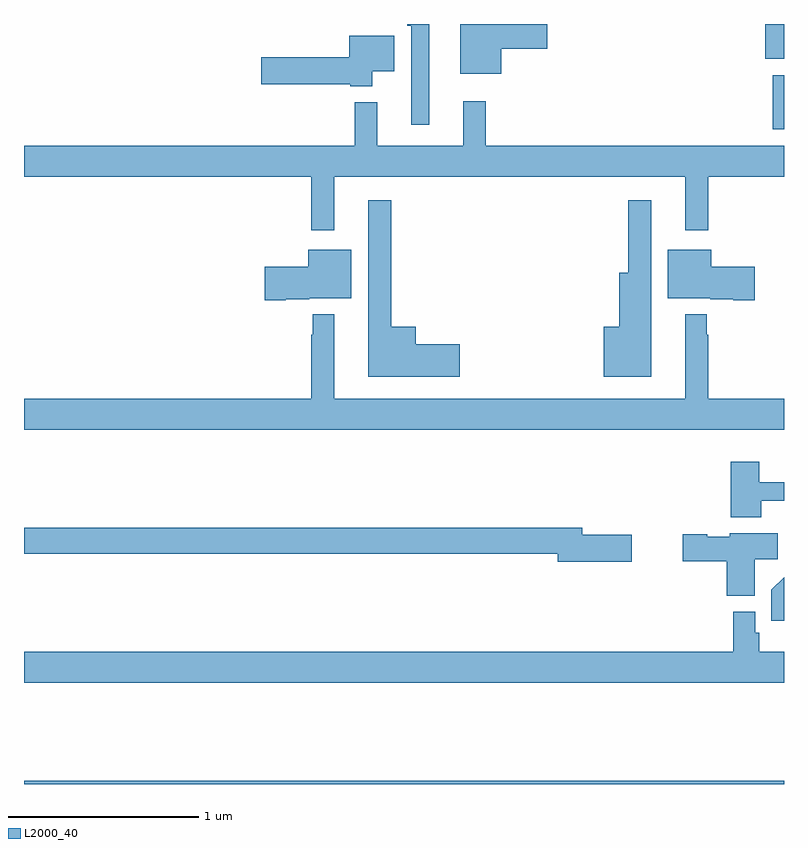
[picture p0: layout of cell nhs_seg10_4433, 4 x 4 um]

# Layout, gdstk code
import gdstk
lib = gdstk.Library(unit=1e-6, precision=1e-09)
def R(c, l, rs):  # rectangles x0, y0, x1, y1
    for r in rs: c.add(gdstk.rectangle(r[:2], r[2:], *l))
def P(c, l, *ps):  # polygons
    for p in ps: c.add(gdstk.Polygon(p, *l))
L2000_40 = (2000, 40)

nhs_seg10_4433 = lib.new_cell('nhs_seg10_4433')
R(nhs_seg10_4433, L2000_40, [(363,1250.5,367,1250.516), (366.941,1253.946,367,1254.231), (366.902,1254.316,367,1254.5)])
P(nhs_seg10_4433, L2000_40, [(365.134,1254.5),(365.017,1254.5),(365.017,1254.491),(365.037,1254.491),(365.037,1253.97),(365.134,1253.97)],
  [(365.512,1254.371),(365.755,1254.371),(365.755,1254.5),(365.297,1254.5),(365.297,1254.239),(365.512,1254.239)],
  [(364.834,1254.251),(364.948,1254.251),(364.948,1254.439),(364.712,1254.439),(364.712,1254.326),(364.248,1254.326),(364.248,1254.184),(364.716,1254.184),(364.716,1254.173),(364.834,1254.173)],
  [(364.633,1253.696),(366.479,1253.696),(366.479,1253.415),(366.601,1253.415),(366.601,1253.696),(367,1253.696),(367,1253.86),(365.429,1253.86),(365.429,1254.094),(365.312,1254.094),(365.312,1253.86),(364.859,1253.86),(364.859,1254.088),(364.741,1254.088),(364.741,1253.86),(363,1253.86),(363,1253.696),(364.512,1253.696),(364.512,1253.415),(364.633,1253.415)],
  [(366.301,1253.572),(366.18,1253.572),(366.18,1253.191),(366.134,1253.191),(366.134,1252.906),(366.05,1252.906),(366.05,1252.643),(366.301,1252.643)],
  [(365.293,1252.814),(365.062,1252.814),(365.062,1252.906),(364.933,1252.906),(364.933,1253.572),(364.811,1253.572),(364.811,1252.643),(365.293,1252.643)],
  [(364.378,1253.051),(364.5,1253.051),(364.5,1253.057),(364.723,1253.057),(364.723,1253.311),(364.496,1253.311),(364.496,1253.223),(364.266,1253.223),(364.266,1253.045),(364.378,1253.045)],
  [(366.847,1253.223),(366.616,1253.223),(366.616,1253.311),(366.389,1253.311),(366.389,1253.057),(366.612,1253.057),(366.612,1253.051),(366.734,1253.051),(366.734,1253.045),(366.847,1253.045)],
  [(367,1252.528),(366.601,1252.528),(366.601,1252.865),(366.593,1252.865),(366.593,1252.972),(366.479,1252.972),(366.479,1252.528),(364.633,1252.528),(364.633,1252.972),(364.519,1252.972),(364.519,1252.865),(364.512,1252.865),(364.512,1252.528),(363,1252.528),(363,1252.364),(367,1252.364)],
  [(366.879,1251.99),(367,1251.99),(367,1252.089),(366.871,1252.089),(366.871,1252.195),(366.719,1252.195),(366.719,1251.905),(366.879,1251.905)],
  [(366.199,1251.812),(365.938,1251.812),(365.938,1251.848),(363,1251.848),(363,1251.712),(365.81,1251.712),(365.81,1251.67),(366.199,1251.67)],
  [(366.847,1251.682),(366.968,1251.682),(366.968,1251.82),(366.714,1251.82),(366.714,1251.802),(366.597,1251.802),(366.597,1251.815),(366.468,1251.815),(366.468,1251.673),(366.698,1251.673),(366.698,1251.491),(366.847,1251.491)],
  [(367,1251.588),(366.934,1251.522),(366.934,1251.36),(367,1251.36)],
  [(367,1251.196),(366.869,1251.196),(366.869,1251.297),(366.849,1251.297),(366.849,1251.406),(366.733,1251.406),(366.733,1251.196),(363,1251.196),(363,1251.032),(367,1251.032)])

lib.write_gds('nhs_seg10_4433.gds')
